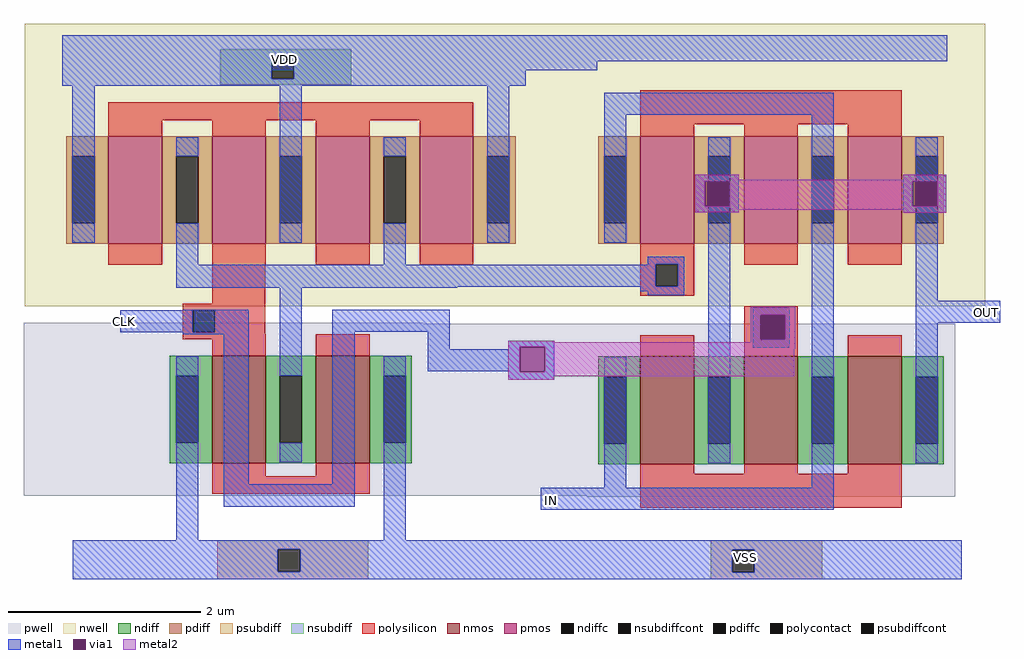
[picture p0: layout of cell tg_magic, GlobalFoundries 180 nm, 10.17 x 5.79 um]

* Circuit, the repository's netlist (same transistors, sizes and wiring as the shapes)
* NGSPICE file created from tg_magic.ext - technology: gf180mcuD

.subckt pmos_3p3_VRY6F7 a_272_n112# a_56_n112# a_n272_n156# a_160_n156# a_n56_n156#
+ a_n360_n112# w_n446_n242# a_n160_n112#
X0 a_56_n112# a_n56_n156# a_n160_n112# w_n446_n242# pfet_03v3 ad=0.2912p pd=1.64u as=0.2912p ps=1.64u w=1.12u l=0.56u
X1 a_272_n112# a_160_n156# a_56_n112# w_n446_n242# pfet_03v3 ad=0.4928p pd=3.12u as=0.2912p ps=1.64u w=1.12u l=0.56u
X2 a_n160_n112# a_n272_n156# a_n360_n112# w_n446_n242# pfet_03v3 ad=0.2912p pd=1.64u as=0.4928p ps=3.12u w=1.12u l=0.56u
.ends

.subckt pmos_3p3_VH67F7 a_380_n112# a_164_n112# a_n164_n156# a_n380_n156# a_52_n156#
+ a_n268_n112# w_n554_n242# a_268_n156# a_n52_n112# a_n468_n112#
X0 a_164_n112# a_52_n156# a_n52_n112# w_n554_n242# pfet_03v3 ad=0.2912p pd=1.64u as=0.2912p ps=1.64u w=1.12u l=0.56u
X1 a_380_n112# a_268_n156# a_164_n112# w_n554_n242# pfet_03v3 ad=0.4928p pd=3.12u as=0.2912p ps=1.64u w=1.12u l=0.56u
X2 a_n268_n112# a_n380_n156# a_n468_n112# w_n554_n242# pfet_03v3 ad=0.2912p pd=1.64u as=0.4928p ps=3.12u w=1.12u l=0.56u
X3 a_n52_n112# a_n164_n156# a_n268_n112# w_n554_n242# pfet_03v3 ad=0.2912p pd=1.64u as=0.2912p ps=1.64u w=1.12u l=0.56u
.ends

.subckt nmos_3p3_F2UGVV a_164_n112# a_n164_n156# a_n252_n112# a_52_n156# a_n52_n112#
+ VSUBS
X0 a_164_n112# a_52_n156# a_n52_n112# VSUBS nfet_03v3 ad=0.4928p pd=3.12u as=0.2912p ps=1.64u w=1.12u l=0.56u
X1 a_n52_n112# a_n164_n156# a_n252_n112# VSUBS nfet_03v3 ad=0.2912p pd=1.64u as=0.4928p ps=3.12u w=1.12u l=0.56u
.ends

.subckt inverter_magic VIN VOUT VDD VSS
Xpmos_3p3_VH67F7_0 VDD VOUT VIN VIN VIN VOUT VDD VIN VDD VDD pmos_3p3_VH67F7
Xnmos_3p3_F2UGVV_0 VSS VIN VSS VIN VOUT VSS nmos_3p3_F2UGVV
.ends

.subckt nmos_3p3_G2UGVV a_272_n112# a_56_n112# a_n272_n156# a_160_n156# a_n56_n156#
+ a_n360_n112# a_n160_n112# VSUBS
X0 a_56_n112# a_n56_n156# a_n160_n112# VSUBS nfet_03v3 ad=0.2912p pd=1.64u as=0.2912p ps=1.64u w=1.12u l=0.56u
X1 a_272_n112# a_160_n156# a_56_n112# VSUBS nfet_03v3 ad=0.4928p pd=3.12u as=0.2912p ps=1.64u w=1.12u l=0.56u
X2 a_n160_n112# a_n272_n156# a_n360_n112# VSUBS nfet_03v3 ad=0.2912p pd=1.64u as=0.4928p ps=3.12u w=1.12u l=0.56u
.ends

.subckt tg_magic VDD OUT IN CLK VSS
Xpmos_3p3_VRY6F7_0 OUT IN inverter_magic_0/VOUT inverter_magic_0/VOUT inverter_magic_0/VOUT
+ IN VDD OUT pmos_3p3_VRY6F7
Xinverter_magic_0 CLK inverter_magic_0/VOUT VDD VSS inverter_magic
Xnmos_3p3_G2UGVV_0 OUT IN CLK CLK CLK IN OUT VSS nmos_3p3_G2UGVV
.ends

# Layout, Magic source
magic
tech gf180mcuD
magscale 1 10
<< nwell >>
rect 0 1109 2000 1117
rect 1108 1013 2000 1109
<< pwell >>
rect -2 134 282 494
rect 830 134 1170 492
<< psubdiff >>
rect 1428 21 1661 41
rect 1428 -25 1473 21
rect 1519 -25 1661 21
rect 1428 -40 1661 -25
<< psubdiffcont >>
rect 1473 -25 1519 21
<< polysilicon >>
rect 1282 908 1826 979
rect 1282 616 1394 650
rect 1282 570 1314 616
rect 1360 570 1394 616
rect 1282 550 1394 570
rect 1498 508 1610 529
rect 1498 462 1533 508
rect 1579 462 1610 508
rect 1498 443 1610 462
rect 1282 109 1826 180
<< polycontact >>
rect 1314 570 1360 616
rect 1533 462 1579 508
<< metal1 >>
rect 78 1065 1921 1093
rect 82 1039 1921 1065
rect 82 1020 1192 1039
rect 1207 927 1685 973
rect 1207 663 1253 927
rect 1423 803 1469 881
rect 1396 789 1487 803
rect 1396 737 1416 789
rect 1468 737 1487 789
rect 1396 724 1487 737
rect 1297 616 1373 632
rect 1297 615 1314 616
rect 793 613 1314 615
rect 868 570 1314 613
rect 1360 570 1373 616
rect 868 569 1373 570
rect 1282 560 1373 569
rect 1297 552 1373 560
rect 199 474 265 520
rect 354 519 465 521
rect 354 470 466 519
rect 414 158 466 470
rect 640 475 885 521
rect 640 158 687 475
rect 839 439 885 475
rect 1007 444 1103 457
rect 1007 439 1031 444
rect 839 393 1031 439
rect 1007 392 1031 393
rect 1083 392 1103 444
rect 1007 376 1103 392
rect 414 111 687 158
rect 1207 151 1253 414
rect 1423 202 1469 724
rect 1516 519 1592 527
rect 1516 511 1593 519
rect 1516 459 1532 511
rect 1584 459 1593 511
rect 1516 447 1593 459
rect 1516 442 1592 447
rect 1639 151 1685 927
rect 1855 803 1901 881
rect 1829 789 1919 803
rect 1829 737 1848 789
rect 1900 737 1919 789
rect 1829 723 1919 737
rect 1855 540 1901 723
rect 1855 494 2031 540
rect 1855 202 1901 494
rect 1074 105 1685 151
rect 1065 21 1951 41
rect 1065 -25 1473 21
rect 1519 -25 1951 21
rect 1065 -40 1951 -25
<< via1 >>
rect 1416 737 1468 789
rect 1031 392 1083 444
rect 1532 508 1584 511
rect 1532 462 1533 508
rect 1533 462 1579 508
rect 1579 462 1584 508
rect 1532 459 1584 462
rect 1848 737 1900 789
<< metal2 >>
rect 1396 792 1487 803
rect 1829 792 1919 803
rect 1396 789 1919 792
rect 1396 737 1416 789
rect 1468 737 1848 789
rect 1900 737 1919 789
rect 1396 730 1919 737
rect 1396 724 1487 730
rect 1829 723 1919 730
rect 1512 511 1605 528
rect 1512 459 1532 511
rect 1584 459 1605 511
rect 1007 454 1103 457
rect 1512 454 1605 459
rect 1007 444 1605 454
rect 1007 392 1031 444
rect 1083 440 1605 444
rect 1083 392 1602 440
rect 1007 383 1602 392
rect 1007 376 1103 383
use inverter_magic  inverter_magic_0
transform 1 0 0 0 1 529
box 0 -569 1108 580
use nmos_3p3_G2UGVV  nmos_3p3_G2UGVV_0
transform 1 0 1554 0 1 312
box -384 -180 384 180
use pmos_3p3_VRY6F7  pmos_3p3_VRY6F7_0
transform 1 0 1554 0 1 771
box -446 -242 446 242
<< labels >>
flabel metal1 s 540 1042 540 1042 0 FreeSans 750 0 0 0 VDD
port 1 nsew
flabel metal1 s 2002 516 2002 516 0 FreeSans 750 0 0 0 OUT
port 2 nsew
flabel metal1 s 1097 125 1097 125 0 FreeSans 750 0 0 0 IN
port 3 nsew
flabel metal1 s 207 496 207 496 0 FreeSans 750 0 0 0 CLK
port 4 nsew
rlabel metal1 1450 -20 1550 30 0 VSS
port 5 nsew
<< end >>

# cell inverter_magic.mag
magic
tech gf180mcuD
magscale 1 10
<< nwell >>
rect 0 484 1108 580
rect 400 470 680 484
rect 407 461 680 470
<< psubdiff >>
rect 401 -507 715 -488
rect 401 -553 527 -507
rect 573 -553 715 -507
rect 401 -569 715 -553
<< nsubdiff >>
rect 407 520 680 535
rect 407 474 514 520
rect 560 474 680 520
rect 407 461 680 474
<< psubdiffcont >>
rect 527 -553 573 -507
<< nsubdiffcont >>
rect 514 474 560 520
<< polysilicon >>
rect 174 387 934 425
rect 390 5 501 89
rect 329 -9 501 5
rect 329 -55 349 -9
rect 395 -55 501 -9
rect 329 -59 501 -55
rect 329 -69 411 -59
rect 390 -391 718 -354
<< polycontact >>
rect 349 -55 395 -9
<< metal1 >>
rect 78 520 1043 536
rect 78 474 514 520
rect 560 474 1043 520
rect 78 459 1043 474
rect 99 143 145 459
rect 315 86 361 144
rect 531 143 577 459
rect 963 143 1009 459
rect 747 86 793 143
rect 315 84 793 86
rect 315 38 900 84
rect 329 -9 410 -8
rect 261 -55 349 -9
rect 395 -55 410 -9
rect 329 -59 410 -55
rect 315 -488 361 -105
rect 531 -116 577 38
rect 747 -488 793 -105
rect 100 -507 1065 -488
rect 100 -553 527 -507
rect 573 -553 1065 -507
rect 100 -569 1065 -553
use nmos_3p3_F2UGVV  nmos_3p3_F2UGVV_0
transform 1 0 554 0 1 -215
box -276 -180 276 180
use pmos_3p3_VH67F7  pmos_3p3_VH67F7_0
transform 1 0 554 0 1 242
box -554 -242 554 242
<< labels >>
flabel nsubdiffcont 536 497 536 497 0 FreeSans 750 0 0 0 VDD
flabel psubdiffcont 551 -530 551 -530 0 FreeSans 750 0 0 0 VSS
flabel metal1 s 273 -31 273 -31 0 FreeSans 750 0 0 0 VIN
port 1 nsew
flabel metal1 s 862 59 862 59 0 FreeSans 750 0 0 0 VOUT
port 2 nsew
<< end >>

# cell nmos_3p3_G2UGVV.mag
magic
tech gf180mcuD
magscale 1 10
<< pwell >>
rect -384 -180 384 180
<< nmos >>
rect -272 -112 -160 112
rect -56 -112 56 112
rect 160 -112 272 112
<< ndiff >>
rect -360 70 -272 112
rect -360 -70 -347 70
rect -301 -70 -272 70
rect -360 -112 -272 -70
rect -160 70 -56 112
rect -160 -70 -131 70
rect -85 -70 -56 70
rect -160 -112 -56 -70
rect 56 70 160 112
rect 56 -70 85 70
rect 131 -70 160 70
rect 56 -112 160 -70
rect 272 70 360 112
rect 272 -70 301 70
rect 347 -70 360 70
rect 272 -112 360 -70
<< ndiffc >>
rect -347 -70 -301 70
rect -131 -70 -85 70
rect 85 -70 131 70
rect 301 -70 347 70
<< polysilicon >>
rect -272 112 -160 156
rect -56 112 56 156
rect 160 112 272 156
rect -272 -156 -160 -112
rect -56 -156 56 -112
rect 160 -156 272 -112
<< metal1 >>
rect -347 70 -301 110
rect -347 -110 -301 -70
rect -131 70 -85 110
rect -131 -110 -85 -70
rect 85 70 131 110
rect 85 -110 131 -70
rect 301 70 347 110
rect 301 -110 347 -70
<< end >>

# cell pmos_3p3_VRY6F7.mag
magic
tech gf180mcuD
magscale 1 10
<< nwell >>
rect -446 -242 446 242
<< pmos >>
rect -272 -112 -160 112
rect -56 -112 56 112
rect 160 -112 272 112
<< pdiff >>
rect -360 70 -272 112
rect -360 -70 -347 70
rect -301 -70 -272 70
rect -360 -112 -272 -70
rect -160 70 -56 112
rect -160 -70 -131 70
rect -85 -70 -56 70
rect -160 -112 -56 -70
rect 56 70 160 112
rect 56 -70 85 70
rect 131 -70 160 70
rect 56 -112 160 -70
rect 272 70 360 112
rect 272 -70 301 70
rect 347 -70 360 70
rect 272 -112 360 -70
<< pdiffc >>
rect -347 -70 -301 70
rect -131 -70 -85 70
rect 85 -70 131 70
rect 301 -70 347 70
<< polysilicon >>
rect -272 112 -160 156
rect -56 112 56 156
rect 160 112 272 156
rect -272 -156 -160 -112
rect -56 -156 56 -112
rect 160 -156 272 -112
<< metal1 >>
rect -347 70 -301 110
rect -347 -110 -301 -70
rect -131 70 -85 110
rect -131 -110 -85 -70
rect 85 70 131 110
rect 85 -110 131 -70
rect 301 70 347 110
rect 301 -110 347 -70
<< end >>

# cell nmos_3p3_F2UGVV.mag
magic
tech gf180mcuD
magscale 1 10
<< pwell >>
rect -276 -180 276 180
<< nmos >>
rect -164 -112 -52 112
rect 52 -112 164 112
<< ndiff >>
rect -252 70 -164 112
rect -252 -70 -239 70
rect -193 -70 -164 70
rect -252 -112 -164 -70
rect -52 70 52 112
rect -52 -70 -23 70
rect 23 -70 52 70
rect -52 -112 52 -70
rect 164 70 252 112
rect 164 -70 193 70
rect 239 -70 252 70
rect 164 -112 252 -70
<< ndiffc >>
rect -239 -70 -193 70
rect -23 -70 23 70
rect 193 -70 239 70
<< polysilicon >>
rect -164 112 -52 156
rect 52 112 164 156
rect -164 -156 -52 -112
rect 52 -156 164 -112
<< metal1 >>
rect -239 70 -193 110
rect -239 -110 -193 -70
rect -23 70 23 110
rect -23 -110 23 -70
rect 193 70 239 110
rect 193 -110 239 -70
<< end >>

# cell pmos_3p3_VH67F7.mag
magic
tech gf180mcuD
magscale 1 10
<< nwell >>
rect -554 -242 554 242
<< pmos >>
rect -380 -112 -268 112
rect -164 -112 -52 112
rect 52 -112 164 112
rect 268 -112 380 112
<< pdiff >>
rect -468 70 -380 112
rect -468 -70 -455 70
rect -409 -70 -380 70
rect -468 -112 -380 -70
rect -268 70 -164 112
rect -268 -70 -239 70
rect -193 -70 -164 70
rect -268 -112 -164 -70
rect -52 70 52 112
rect -52 -70 -23 70
rect 23 -70 52 70
rect -52 -112 52 -70
rect 164 70 268 112
rect 164 -70 193 70
rect 239 -70 268 70
rect 164 -112 268 -70
rect 380 70 468 112
rect 380 -70 409 70
rect 455 -70 468 70
rect 380 -112 468 -70
<< pdiffc >>
rect -455 -70 -409 70
rect -239 -70 -193 70
rect -23 -70 23 70
rect 193 -70 239 70
rect 409 -70 455 70
<< polysilicon >>
rect -380 112 -268 156
rect -164 112 -52 156
rect 52 112 164 156
rect 268 112 380 156
rect -380 -156 -268 -112
rect -164 -156 -52 -112
rect 52 -156 164 -112
rect 268 -156 380 -112
<< metal1 >>
rect -455 70 -409 110
rect -455 -110 -409 -70
rect -239 70 -193 110
rect -239 -110 -193 -70
rect -23 70 23 110
rect -23 -110 23 -70
rect 193 70 239 110
rect 193 -110 239 -70
rect 409 70 455 110
rect 409 -110 455 -70
<< end >>
